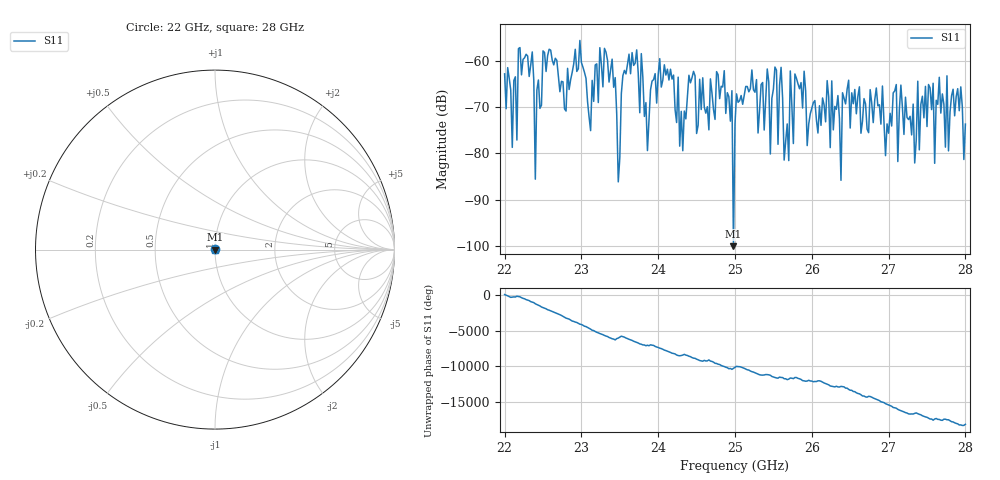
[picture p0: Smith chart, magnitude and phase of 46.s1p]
#  HZ  S  RI  R  50.00
! Rohde & Schwarz ZVA40 4Ports - Version 3.90 - 1145.1110k42 SN: 100403
! Date: 2023-10-04 07:55:37
! Measurement: S12
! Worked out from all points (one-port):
!   301 points, 22 GHz to 28 GHz, reference 50 ohm
!   lowest |S11| = -100.0 dB at 24.98 GHz (marker M1), VSWR 1.00, Z = 50 + j0.000885 ohm
!   |S11| at or under -10 dB: start of sweep to end of sweep
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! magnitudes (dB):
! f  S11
! 22 GHz  -62.9
! 22.1 GHz  -78.7
! 22.36 GHz  -58.1
! 22.4 GHz  -85.5
! 22.5 GHz  -57.9
! 22.76 GHz  -64.6
! 22.98 GHz  -55.7
! 23.12 GHz  -75.1
! 23.3 GHz  -57.4
! 23.5 GHz  -81.0
! 23.62 GHz  -58.6
! 23.86 GHz  -79.4
! 24.26 GHz  -63.6
! 24.32 GHz  -79.4
! 24.86 GHz  -62.2
! 24.98 GHz  -100.0
! 25 GHz  -73.6
! 25.42 GHz  -61.8
! 25.46 GHz  -80.1
! 25.52 GHz  -61.4
! 25.56 GHz  -78.0
! 25.6 GHz  -61.5
! 25.76 GHz  -77.9
! 25.9 GHz  -62.3
! 25.94 GHz  -78.3
! 26.5 GHz  -74.5
! 27.26 GHz  -72.7
! 28 GHz  -73.7
